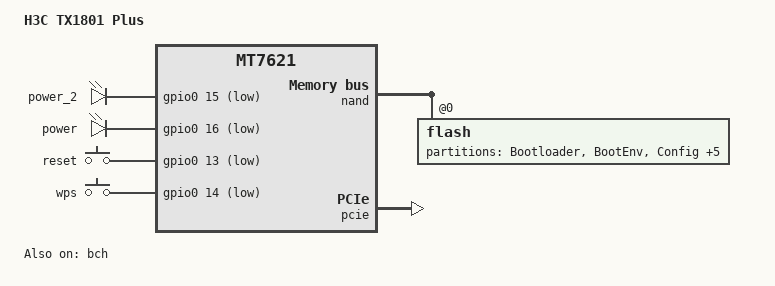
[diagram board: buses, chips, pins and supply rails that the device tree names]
/dts-v1/;

#include "mt7621.dtsi"
#include <dt-bindings/input/input.h>
#include "mt7621-raeth-gmac2.dtsi"
#include "mt7621-pinctrl-default-gpio.dtsi"

/ {
	compatible = "mediatek,mt7621-soc";
	model = "H3C TX1801 Plus";
  
	chosen {
		bootargs = "console=ttyS0,115200";
	};

	leds {
		compatible = "gpio-leds";

		led_sys_orange {
			label = "power_2";
			gpios = <&gpio0 15 GPIO_ACTIVE_LOW>;
		};

		led_sys_green {
			label = "power";
			gpios = <&gpio0 16 GPIO_ACTIVE_LOW>;
		};
	};

	gpio-keys-polled {
		compatible = "gpio-keys-polled";
		#address-cells = <1>;
		#size-cells = <0>;
		poll-interval = <20>;

		reset {
			label = "reset";
			gpios = <&gpio0 13 GPIO_ACTIVE_LOW>;
			linux,code = <KEY_RESTART>;
		};

		wps {
			label = "wps";
			gpios = <&gpio0 14 GPIO_ACTIVE_LOW>;
			linux,code = <KEY_WPS_BUTTON>;
		};
	};
};

&bch {
	status = "okay";
};

&nand {
	status = "okay";

	flash@0 {
		reg = <0>;
		nand-ecc-mode = "hw";
		partitions {
			compatible = "fixed-partitions";
			#address-cells = <1>;
			#size-cells = <1>;

			partition@0 {
				label = "Bootloader";
				reg = <0x0 0x40000>; /* 256k */
			};
      
			partition@40000 {
				label = "BootEnv";
				reg = <0x40000 0x40000>; /* 256k */
			};
			
                        partition@80000 {
				label = "Config";
				reg = <0x80000 0x80000>; /* 512k */
			};
			
			partition@100000 {
				label = "Factory";
				reg = <0x100000 0x40000>; /* 256k */
			};
      			
			partition@140000 {
				label = "firmware";
				reg = <0x140000 0x1800000>; /* 24M */
			};

			partition@1940000 {
				label = "Storage";
				reg = <0x1940000 0x400000>; /* 4096K */
			};

			partition@1d40000 {
				label = "RWFS";
				reg = <0x1d40000 0x6240000>;
			};

			partition@all {
				label = "ALL";
				reg = <0x0 0x7f80000>;
			};
		};
	};
};

&pcie {
	status = "okay";
};
